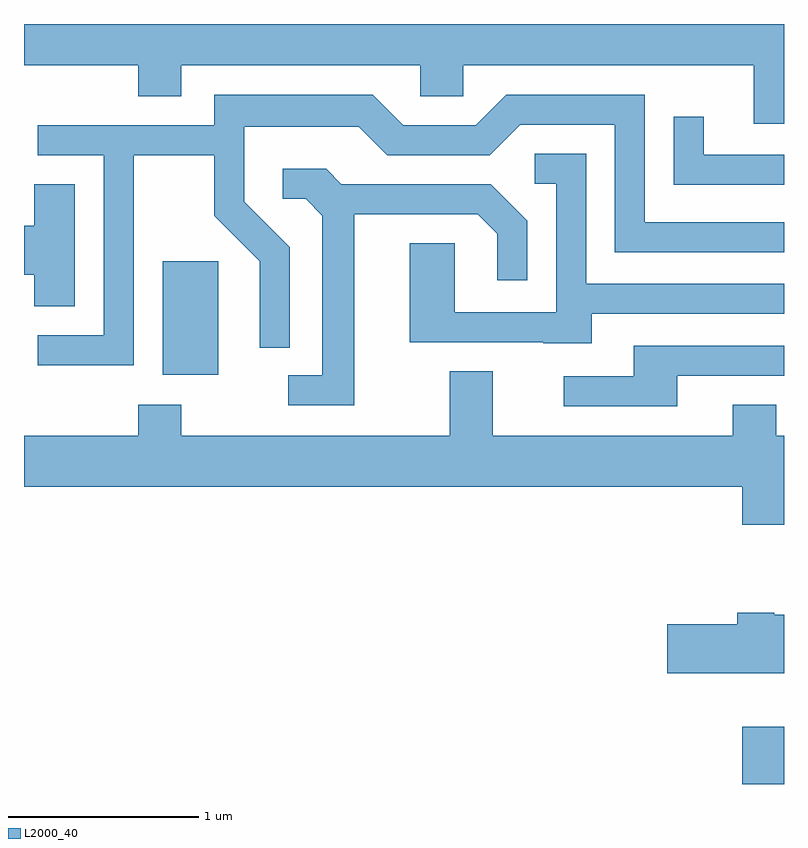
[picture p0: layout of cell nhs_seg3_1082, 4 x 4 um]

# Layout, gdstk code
import gdstk
lib = gdstk.Library(unit=1e-6, precision=1e-09)
def R(c, l, rs):  # rectangles x0, y0, x1, y1
    for r in rs: c.add(gdstk.rectangle(r[:2], r[2:], *l))
def P(c, l, *ps):  # polygons
    for p in ps: c.add(gdstk.Polygon(p, *l))
L2000_40 = (2000, 40)

nhs_seg3_1082 = lib.new_cell('nhs_seg3_1082')
R(nhs_seg3_1082, L2000_40, [(219.391,1239.892,219.611,1240.194), (216.341,1242.046,216.634,1242.644)])
P(nhs_seg3_1082, L2000_40, [(219.611,1243.892),(215.611,1243.892),(215.611,1243.676),(216.211,1243.676),(216.211,1243.511),(216.439,1243.511),(216.439,1243.676),(217.696,1243.676),(217.696,1243.511),(217.924,1243.511),(217.924,1243.676),(219.451,1243.676),(219.451,1243.366),(219.611,1243.366)],
  [(216.189,1243.201),(216.611,1243.201),(216.611,1242.884),(216.851,1242.644),(216.851,1242.188),(217.009,1242.188),(217.009,1242.717),(216.769,1242.957),(216.769,1243.351),(217.374,1243.351),(217.524,1243.201),(218.062,1243.201),(218.222,1243.361),(218.721,1243.361),(218.721,1242.691),(219.611,1242.691),(219.611,1242.849),(218.879,1242.849),(218.879,1243.519),(218.149,1243.519),(217.989,1243.359),(217.607,1243.359),(217.447,1243.519),(216.611,1243.519),(216.611,1243.359),(215.683,1243.359),(215.683,1243.201),(216.031,1243.201),(216.031,1242.254),(215.683,1242.254),(215.683,1242.096),(216.189,1242.096)],
  [(219.611,1243.204),(219.189,1243.204),(219.189,1243.403),(219.031,1243.403),(219.031,1243.046),(219.611,1243.046)],
  [(218.599,1242.366),(219.611,1242.366),(219.611,1242.524),(218.569,1242.524),(218.569,1243.209),(218.298,1243.209),(218.298,1243.051),(218.411,1243.051),(218.411,1242.374),(217.879,1242.374),(217.879,1242.739),(217.641,1242.739),(217.641,1242.216),(218.345,1242.216),(218.345,1242.211),(218.599,1242.211)],
  [(217.349,1242.891),(217.999,1242.891),(218.101,1242.789),(218.101,1242.543),(218.259,1242.543),(218.259,1242.857),(218.067,1243.049),(217.282,1243.049),(217.202,1243.129),(216.973,1243.129),(216.973,1242.971),(217.094,1242.971),(217.181,1242.884),(217.181,1242.044),(217.003,1242.044),(217.003,1241.886),(217.349,1241.886)],
  [(215.879,1243.049),(215.666,1243.049),(215.666,1242.829),(215.611,1242.829),(215.611,1242.571),(215.666,1242.571),(215.666,1242.406),(215.879,1242.406)],
  [(219.049,1242.041),(219.611,1242.041),(219.611,1242.199),(218.821,1242.199),(218.821,1242.039),(218.453,1242.039),(218.453,1241.881),(219.049,1241.881)],
  [(219.611,1241.724),(219.569,1241.724),(219.569,1241.889),(219.341,1241.889),(219.341,1241.724),(218.079,1241.724),(218.079,1242.064),(217.851,1242.064),(217.851,1241.724),(216.439,1241.724),(216.439,1241.889),(216.211,1241.889),(216.211,1241.724),(215.611,1241.724),(215.611,1241.456),(219.391,1241.456),(219.391,1241.256),(219.611,1241.256)],
  [(219.611,1240.784),(219.56,1240.784),(219.56,1240.794),(219.366,1240.794),(219.366,1240.734),(218.996,1240.734),(218.996,1240.476),(219.611,1240.476)])

lib.write_gds('nhs_seg3_1082.gds')
